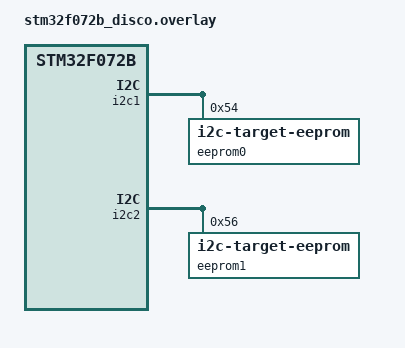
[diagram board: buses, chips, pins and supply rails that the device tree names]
/* SPDX-License-Identifier: Apache-2.0 */

&i2c1 {
	dmas = <&dma1 2 (STM32_DMA_PERIPH_TX | STM32_DMA_PRIORITY_HIGH)>,
	       <&dma1 3 (STM32_DMA_PERIPH_RX | STM32_DMA_PRIORITY_HIGH)>;
	dma-names = "tx", "rx";

	eeprom0: eeprom@54 {
		compatible = "zephyr,i2c-target-eeprom";
		reg = <0x54>;
		size = <256>;
	};
};

&i2c2 {
	dmas = <&dma1 4 (STM32_DMA_PERIPH_TX | STM32_DMA_PRIORITY_HIGH)>,
	       <&dma1 5 (STM32_DMA_PERIPH_RX | STM32_DMA_PRIORITY_HIGH)>;
	dma-names = "tx", "rx";

	eeprom1: eeprom@56 {
		compatible = "zephyr,i2c-target-eeprom";
		reg = <0x56>;
		size = <256>;
	};
};

&dma1 {
	status = "okay";
};
